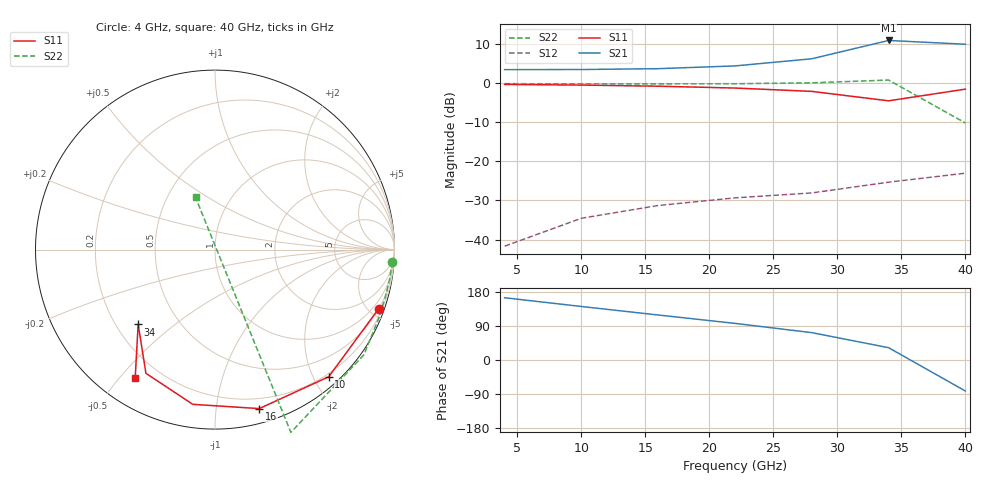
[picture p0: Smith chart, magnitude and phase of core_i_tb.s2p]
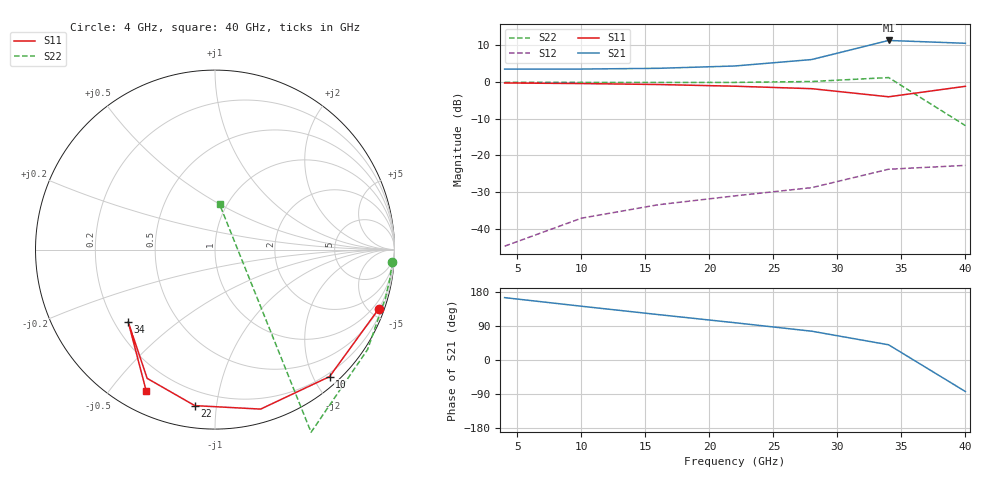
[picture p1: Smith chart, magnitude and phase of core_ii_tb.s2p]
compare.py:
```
#!/usr/bin/env python3
"""compare.py [display]: |S21|, |S11|, |S22| and stability of the core's benches, from results/:

  (i)   results/core_i_tb.s2p    core_i's co-simulation: Q1, C1, C2 cut; coils, lines and plane in the EM
  (ii)  results/core_ii_tb.s2p   core_ii's: Q1, C1, C2 and both coils cut, each coil's own 2-port back
  sch   results/core_sch_tb.s2p  the CORE schematic: the same models with ideal wires (no plane, no interconnect)

K = (1 - |S11|^2 - |S22|^2 + |D|^2) / (2 |S12 S21|),  mu = (1 - |S11|^2) / (|S22 - D S11*| + |S12 S21|),
D = S11 S22 - S12 S21: unconditionally stable when mu > 1. `display` (inside the image) draws core.cdd and
pictures/core.png.
"""
import os, sys
sys.path.insert(0, os.path.join(os.path.dirname(os.path.abspath(__file__)), '..', 'blackbox_common'))
import numpy as np
from blackbox import touchstone, row, display

AT = [4, 10, 16, 22, 28, 34, 40]           # core_i and core_ii's EM points
db = lambda x: 20 * np.log10(abs(x))
print('%-28s' % 'GHz' + ''.join('%9g' % g for g in AT))
for tag in ('i', 'ii', 'sch'):
    path = f'results/core_{tag}_tb.s2p'
    if not os.path.exists(path):
        print(f'({tag}): {path} not there yet')
        continue
    f, s, _ = touchstone(path)
    s11, s21, s12, s22 = s[:, 0, 0], s[:, 1, 0], s[:, 0, 1], s[:, 1, 1]
    D = s11 * s22 - s12 * s21
    row(f'({tag}) |S21| dB', f, db(s21), '%.2f', AT)
    row(f'({tag}) |S11| dB', f, db(s11), '%.2f', AT)
    row(f'({tag}) |S22| dB', f, db(s22), '%.2f', AT)
    row(f'({tag}) K', f, (1 - abs(s11) ** 2 - abs(s22) ** 2 + abs(D) ** 2) / (2 * abs(s12 * s21)), '%.2f', AT)
    row(f'({tag}) mu', f, (1 - abs(s11) ** 2) / (abs(s22 - D * np.conj(s11)) + abs(s12 * s21)), '%.2f', AT)
if 'display' in sys.argv:
    display('core', [('(i)', 'results/core_i_tb.s2p'), ('(ii)', 'results/core_ii_tb.s2p'),
                     ('sch', 'results/core_sch_tb.s2p')], [(2, 1), (1, 1), (2, 2)])
    print('wrote core.cdd, pictures/core.png')
```
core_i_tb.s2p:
# GHz S RI R 50
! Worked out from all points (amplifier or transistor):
!   7 points, 4 GHz to 40 GHz, reference 50 ohm
!   highest |S21| = 11.0 dB at 34 GHz (marker M1)
!   |S21| within 3 dB of that: 30.16 GHz to end of sweep
!   unconditionally stable (mu >= 1): nowhere
!   at 10 GHz: K = 0.25, MSG = 19.1 dB, |S12| = -34.6 dB
!   at 22 GHz: K = 0.46, MSG = 16.9 dB, |S12| = -29.3 dB
!   at 40 GHz: K = 0.68, MSG = 16.5 dB, |S12| = -23.0 dB
!   S11 on the Smith chart (normalised r, x): 4 GHz: 0.52, -5.64; 10 GHz: 0.15, -2.23; 16 GHz: 0.11, -1.31; 34 GHz: 0.29, -0.38; 40 GHz: 0.11, -0.55
4  0.9112 -0.3305  -1.443 0.406  0.00207 0.00795  0.9881 -0.0687
10  0.6339 -0.7082  -1.172 0.9422  0.00965 0.016  0.9728 -0.1652
16  0.2467 -0.8858  -0.7418 1.352  0.02 0.0185  0.9474 -0.27
22  -0.1236 -0.8621  -0.1932 1.662  0.0309 0.0146  0.9074 -0.3944
28  -0.3848 -0.6892  0.6313 1.966  0.0395 0.000478  0.8294 -0.5864
34  -0.4281 -0.4167  2.99 1.904  0.0353 -0.0412  0.4228 -1.018
40  -0.4447 -0.7166  0.4473 -3.139  -0.0658 0.0259  -0.1086 0.2912
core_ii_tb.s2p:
# GHz S RI R 50
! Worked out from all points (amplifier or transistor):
!   7 points, 4 GHz to 40 GHz, reference 50 ohm
!   highest |S21| = 11.3 dB at 34 GHz (marker M1)
!   |S21| within 3 dB of that: 30.54 GHz to end of sweep
!   unconditionally stable (mu >= 1): nowhere
!   at 10 GHz: K = 0.24, MSG = 20.3 dB, |S12| = -37.1 dB
!   at 22 GHz: K = 0.49, MSG = 17.7 dB, |S12| = -31.0 dB
!   at 40 GHz: K = 0.67, MSG = 16.7 dB, |S12| = -22.7 dB
!   S11 on the Smith chart (normalised r, x): 4 GHz: 0.50, -5.67; 10 GHz: 0.15, -2.24; 22 GHz: 0.12, -0.87; 34 GHz: 0.26, -0.34; 40 GHz: 0.09, -0.62
4  0.9127 -0.3295  -1.444 0.3977  0.00121 0.00564  0.9879 -0.0679
10  0.6384 -0.7076  -1.182 0.9265  0.00702 0.012  0.974 -0.1643
16  0.2543 -0.8886  -0.765 1.333  0.0157 0.0142  0.9498 -0.2693
22  -0.1126 -0.8692  -0.2386 1.637  0.0257 0.0111  0.9083 -0.3882
28  -0.378 -0.7175  0.4909 1.965  0.0363 0.000576  0.8503 -0.5565
34  -0.4839 -0.4017  2.818 2.377  0.0486 -0.0427  0.5353 -1.018
40  -0.3837 -0.7856  0.3995 -3.35  -0.0714 0.0147  0.0252 0.2533
